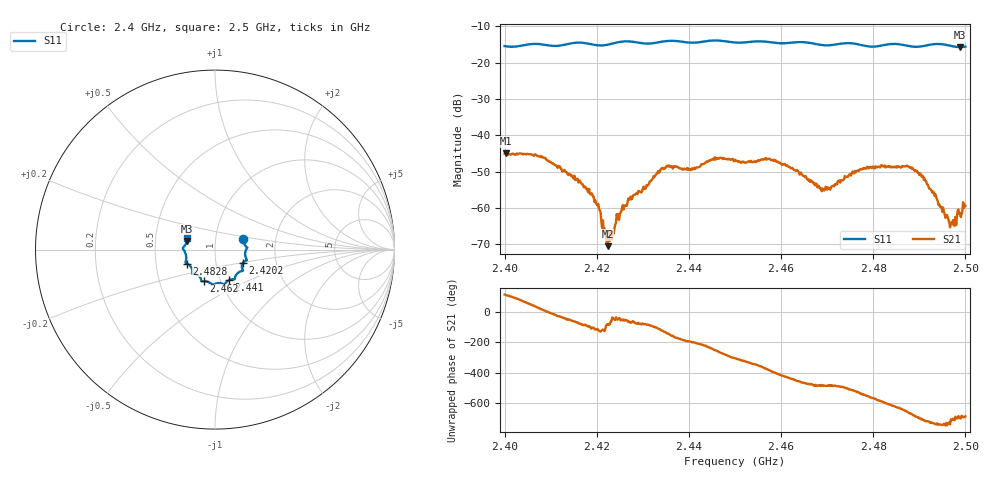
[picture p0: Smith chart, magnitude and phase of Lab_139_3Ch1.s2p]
# Hz S RI R 50
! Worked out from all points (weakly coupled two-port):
!   601 points, 2.4 GHz to 2.5 GHz, reference 50 ohm
!   highest |S21| = -44.97 dB at 2.4003 GHz (marker M1); lowest = -70.5 dB at 2.4223 GHz (marker M2)
!   lowest |S11| = -15.8 dB at 2.4988 GHz (marker M3), VSWR 1.39, Z = 36.4 + j3.42 ohm
!   |S11| at or under -10 dB: start of sweep to end of sweep
!   S12 and S22 are empty: the file has one direction only
!   S11 on the Smith chart (normalised r, x): 2.4 GHz: 1.36, +0.17; 2.4202 GHz: 1.35, -0.20; 2.441 GHz: 1.10, -0.39; 2.462 GHz: 0.83, -0.30; 2.4828 GHz: 0.72, -0.12; 2.5 GHz: 0.73, +0.09
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2.4e9  0.1568 0.0608  -0.00234 0.00504  0 0  0 0
2.400333e9  0.157 0.057  -0.00192 0.00531  0 0  0 0
2.408333e9  0.1767 0.0058  0.00485 0.00114  0 0  0 0
2.416667e9  0.1777 -0.0593  0.000428 -0.00213  0 0  0 0
2.420167e9  0.1567 -0.0721  -0.000414 -0.00101  0 0  0 0
2.422333e9  0.1494 -0.0924  2.71e-05 -0.000298  0 0  0 0
2.425833e9  0.1565 -0.1159  0.00062 -0.000729  0 0  0 0
2.433333e9  0.1125 -0.152  -0.00108 -0.00304  0 0  0 0
2.441e9  0.0772 -0.1706  -0.00328 0.00109  0 0  0 0
2.445667e9  0.0519 -0.1942  -0.00153 0.00476  0 0  0 0
2.45e9  0.0269 -0.1865  0.00261 0.0038  0 0  0 0
2.457e9  -0.019 -0.1914  0.0045 -0.00138  0 0  0 0
2.462e9  -0.0617 -0.176  0.000863 -0.00349  0 0  0 0
2.466667e9  -0.0772 -0.1672  -0.00101 -0.00206  0 0  0 0
2.469e9  -0.0877 -0.1496  -0.00102 -0.00155  0 0  0 0
2.4775e9  -0.1261 -0.119  -0.00339 5.29e-05  0 0  0 0
2.482833e9  -0.158 -0.0778  -0.00181 0.00318  0 0  0 0
2.483333e9  -0.1608 -0.0765  -0.00147 0.00339  0 0  0 0
2.490333e9  -0.1652 -0.0189  0.00284 0.000686  0 0  0 0
2.496667e9  -0.169 0.0216  0.000507 -0.000193  0 0  0 0
2.498833e9  -0.1562 0.0458  0.000808 0.000296  0 0  0 0
2.5e9  -0.1533 0.0622  0.000905 0.00058  0 0  0 0
